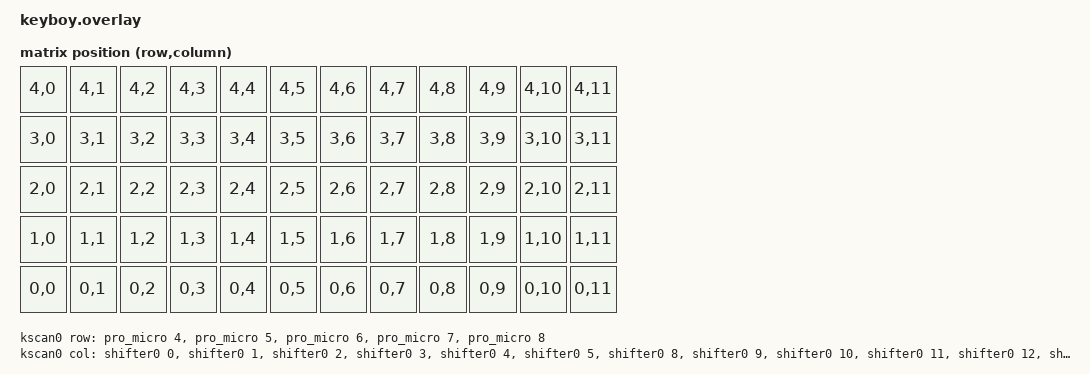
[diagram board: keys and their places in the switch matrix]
#include <dt-bindings/zmk/matrix_transform.h>

&pinctrl {
    spi3_default: spi3_default {
        group1 {
            psels = <NRF_PSEL(SPIM_MOSI, 0, 0)>,
            <NRF_PSEL(SPIM_SCK, 0, 1)>;
        };
    };
    //spi1_default: spi1_default {
    //    group1 {
    //        pinmux = <SPI0_TX_P7>, <SPI1_SCK_P10>, <SPI1_CSN_P9>, <SPI1_CSN_P13>;
    //    };
    //    group2 {
    //        pinmux = <SPI1_RX_P8>;
    //        input-enable;
    //    };
    //};
};

&spi3 {
    status = "okay";
    cs-gpios = <&pro_micro 2 GPIO_ACTIVE_LOW>, <&pro_micro 3 GPIO_ACTIVE_LOW>;
    shifter0: 595@0 {
        compatible = "zmk,gpio-595";
        status = "okay";
        gpio-controller;
        spi-max-frequency = <5000000>;
        reg = <0 0 1>;
        #gpio-cells = <2>;
        ngpios = <16>;
    };
    shifter1: 595@1 {
        compatible = "zmk,gpio-595";
        status = "okay";
        gpio-controller;
        spi-max-frequency = <5000000>;
        reg = <1 0 1>;
        #gpio-cells = <2>;
        ngpios = <24>;
    };
};

/ {
    chosen {
        zmk,kscan = &kscan0;
        zmk,matrix-transform = &default_transform;
    };

    default_transform: keymap_transform_0 {
        compatible = "zmk,matrix-transform";
        columns = <12>;
        rows = <5>;

        map = <
        RC(4, 0) RC(4, 1) RC(4, 2) RC(4, 3) RC(4, 4) RC(4, 5) RC(4, 6) RC(4, 7) RC(4, 8) RC(4, 9) RC(4, 10) RC(4, 11)
        RC(3, 0) RC(3, 1) RC(3, 2) RC(3, 3) RC(3, 4) RC(3, 5) RC(3, 6) RC(3, 7) RC(3, 8) RC(3, 9) RC(3, 10) RC(3, 11)
        RC(2, 0) RC(2, 1) RC(2, 2) RC(2, 3) RC(2, 4) RC(2, 5) RC(2, 6) RC(2, 7) RC(2, 8) RC(2, 9) RC(2, 10) RC(2, 11)
        RC(1, 0) RC(1, 1) RC(1, 2) RC(1, 3) RC(1, 4) RC(1, 5) RC(1, 6) RC(1, 7) RC(1, 8) RC(1, 9) RC(1, 10) RC(1, 11)
        RC(0, 0) RC(0, 1) RC(0, 2) RC(0, 3) RC(0, 4) RC(0, 5) RC(0, 6) RC(0, 7) RC(0, 8) RC(0, 9) RC(0, 10) RC(0, 11)
        >;
    };

    kscan0: kscan_0 {
        compatible = "zmk,kscan-gpio-matrix";
        diode-direction = "col2row";

        col-gpios
            = <&shifter0 0 GPIO_ACTIVE_HIGH>
            , <&shifter0 1 GPIO_ACTIVE_HIGH>
            , <&shifter0 2 GPIO_ACTIVE_HIGH>
            , <&shifter0 3 GPIO_ACTIVE_HIGH>
            , <&shifter0 4 GPIO_ACTIVE_HIGH>
            , <&shifter0 5 GPIO_ACTIVE_HIGH>
            , <&shifter0 8 GPIO_ACTIVE_HIGH>
            , <&shifter0 9 GPIO_ACTIVE_HIGH>
            , <&shifter0 10 GPIO_ACTIVE_HIGH>
            , <&shifter0 11 GPIO_ACTIVE_HIGH>
            , <&shifter0 12 GPIO_ACTIVE_HIGH>
            , <&shifter0 13 GPIO_ACTIVE_HIGH>
            , <&shifter1 19 GPIO_ACTIVE_HIGH>
            , <&shifter1 17 GPIO_ACTIVE_LOW>
            ;

        row-gpios
            = <&pro_micro 4 (GPIO_ACTIVE_HIGH | GPIO_PULL_DOWN)>
            , <&pro_micro 5 (GPIO_ACTIVE_HIGH | GPIO_PULL_DOWN)>
            , <&pro_micro 6 (GPIO_ACTIVE_HIGH | GPIO_PULL_DOWN)>
            , <&pro_micro 7 (GPIO_ACTIVE_HIGH | GPIO_PULL_DOWN)>
            , <&pro_micro 8 (GPIO_ACTIVE_HIGH | GPIO_PULL_DOWN)>
            ;
    };
};

zephyr_udc0: &usbd {
    status = "okay";
};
